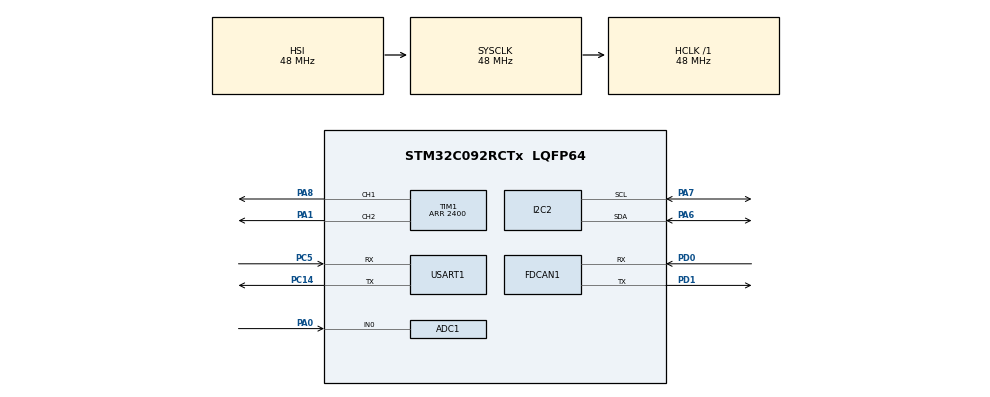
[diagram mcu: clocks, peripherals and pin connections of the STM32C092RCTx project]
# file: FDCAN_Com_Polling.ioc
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ADC1.NbrOfConversionFlag=0
ADC1.SelectedChannel=ADC_CHANNEL_0
ADC1.master=1
FDCAN1.AutoRetransmission=ENABLE
FDCAN1.CalculateBaudRateData=1000000
FDCAN1.CalculateBaudRateNominal=1000000
FDCAN1.CalculateTimeBitNominal=1000
FDCAN1.CalculateTimeQuantumNominal=20.833333333333332
FDCAN1.DataSyncJumpWidth=6
FDCAN1.DataTimeSeg1=17
FDCAN1.DataTimeSeg2=6
FDCAN1.FrameFormat=FDCAN_FRAME_FD_BRS
FDCAN1.NominalPrescaler=1
FDCAN1.NominalSyncJumpWidth=12
FDCAN1.NominalTimeSeg1=35
FDCAN1.NominalTimeSeg2=12
FDCAN1.StdFiltersNbr=1
FDCAN1.TransmitPause=ENABLE
I2C2.Timing=0x10805D88
Mcu.Family=STM32C0
Mcu.Name=STM32C092RCTx
Mcu.Package=LQFP64
NUCLEO-C092RC.LD1=true
NUCLEO-C092RC.LD2=true
NUCLEO-C092RC.VCP=true
NVIC.TIM2_IRQn=true\:0\:0\:false\:false\:true\:true\:true\:true
NVIC.USART1_IRQn=true\:0\:0\:false\:false\:true\:true\:true\:true
PA0.Mode=IN0
PA0.Signal=ADC1_IN0
PA1.Signal=S_TIM1_CH2
PA6.Mode=I2C
PA6.Signal=I2C2_SDA
PA7.Mode=I2C
PA7.Signal=I2C2_SCL
PA8.Signal=S_TIM1_CH1
PC14-OSCX_IN(PC14).Mode=Asynchronous
PC14-OSCX_IN(PC14).Signal=USART1_TX
PC5.Mode=Asynchronous
PC5.Signal=USART1_RX
PD0.Mode=FDCAN_Activate
PD0.Signal=FDCAN1_RX
PD1.Mode=FDCAN_Activate
PD1.Signal=FDCAN1_TX
ProjectManager.HeapSize=0x200
ProjectManager.StackSize=0x400
ProjectManager.TargetToolchain=STM32CubeIDE
RCC.ADCFreq_Value=48000000
RCC.AHBFreq_Value=48000000
RCC.CortexFreq_Value=48000000
RCC.EXTERNAL_CLOCK_VALUE=12288000
RCC.HCLKFreq_Value=48000000
RCC.HSE_VALUE=8000000
RCC.HSISYSCLKDivider=RCC_HSI_DIV1
RCC.HSI_VALUE=48000000
RCC.LSE_VALUE=32768
RCC.SYSCLKFreq_VALUE=48000000
SH.S_TIM1_CH1.0=TIM1_CH1,PWM Generation1 CH1
SH.S_TIM1_CH2.0=TIM1_CH2,PWM Generation2 CH2
TIM1.Channel-PWM\ Generation1\ CH1=TIM_CHANNEL_1
TIM1.Channel-PWM\ Generation2\ CH2=TIM_CHANNEL_2
TIM1.Period=2400
TIM2.Period=48000
USART1.VirtualMode-Asynchronous=VM_ASYNC
VP_NUCLEO-C092RC_VS_BSP_COMMON.Mode=COMMON
VP_TIM2_VS_ClockSourceINT.Mode=Internal
board=NUCLEO-C092RC

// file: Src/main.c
/* USER CODE BEGIN Header */
/**
  ******************************************************************************
  * @file    FDCAN/FDCAN_Com_Polling/Src/main.c
  * @author  MCD Application Team
  * @brief   This sample code shows how to achieve Polling Process Communication
  *          between two FDCAN units.
  ******************************************************************************
  * @attention
  *
  * Copyright (c) 2024 STMicroelectronics.
  * All rights reserved.
  *
  * This software is licensed under terms that can be found in the LICENSE file
  * in the root directory of this software component.
  * If no LICENSE file comes with this software, it is provided AS-IS.
  *
  ******************************************************************************
  */
/* USER CODE END Header */
#include "main.h"

/* USER CODE BEGIN PD */
#define TX_ID          (0x111)   /* TX CAN message identifier    */
#define RX_ID          (0x111)   /* RX CAN message identifier    */
#define INA219_REG_CALIBRATION 0x05
#define INA219_REG_CONFIG 0x00
#define INA219_REG_CURRENT 0x04
#define INA219_ADDR 0b1000000
#define CURRENT_EINTMAX 1000
/* USER CODE END PD */

/* USER CODE BEGIN PM */
#define COUNTOF(BUFFER) (sizeof((BUFFER)) / sizeof(*(BUFFER)))
/* USER CODE END PM */

COM_InitTypeDef BspCOMInit;
ADC_HandleTypeDef hadc1;

FDCAN_HandleTypeDef hfdcan1;

I2C_HandleTypeDef hi2c2;

TIM_HandleTypeDef htim1;
TIM_HandleTypeDef htim2;

UART_HandleTypeDef huart1;

/* USER CODE BEGIN PV */
FDCAN_RxHeaderTypeDef rxHeader;
FDCAN_TxHeaderTypeDef txHeader;
uint8_t rxData[16U];
static const uint8_t txData[] = {0x10, 0x32, 0x54, 0x76, 0x98, 0x00, 0x11, 0x22,
                                 0x33, 0x44, 0x55, 0x66, 0x77, 0x88, 0x99, 0x00
                                };

volatile int state = 0;
volatile float itest_desired_current[400];
volatile float itest_actual_current[400];
volatile float Kp_current = 0.03;
volatile float Ki_current = 0.03;
volatile uint8_t uart_rx;
/* USER CODE END PV */

void SystemClock_Config(void);
static void MX_GPIO_Init(void);
static void MX_FDCAN1_Init(void);
static void MX_ADC1_Init(void);
static void MX_I2C2_Init(void);
static void MX_TIM1_Init(void);
static void MX_TIM2_Init(void);
static void MX_USART1_UART_Init(void);
/* USER CODE BEGIN PFP */
static uint32_t BufferCmp8b(const uint8_t *pBuffer1, const uint8_t *pBuffer2, uint16_t BufferLength);
uint32_t adc_read();
void ina219_init();
float ina219_read();
void ina219_write(int reg, int value);
void set_pwm(float duty_cycle);
/* USER CODE END PFP */

int main(void)
{

  /* USER CODE BEGIN 1 */

  /* STM32C0xx HAL library initialization:
       - Configure the Flash prefetch
       - Systick timer is configured by default as source of time base, but user
         can eventually implement his proper time base source (a general purpose
         timer for example or other time source), keeping in mind that Time base
         duration should be kept 1ms since PPP_TIMEOUT_VALUEs are defined and
         handled in milliseconds basis.
       - Low Level Initialization
     */
  /* USER CODE END 1 */

  /* MCU Configuration--------------------------------------------------------*/

  /* Reset of all peripherals, Initializes the Flash interface and the Systick. */
  HAL_Init();

  /* Configure the system clock */
  SystemClock_Config();

  /* USER CODE BEGIN SysInit */
  /* Configure LED1 and LED2 */
  BSP_LED_Init(LED1);
  BSP_LED_Init(LED2);

  /* Configure User push-button in interrupt mode */
  BSP_PB_Init(BUTTON_USER, BUTTON_MODE_EXTI);

  /* USER CODE END SysInit */

  /* Initialize all configured peripherals */
  MX_GPIO_Init();
  MX_FDCAN1_Init();
  MX_ADC1_Init();
  MX_I2C2_Init();
  MX_TIM1_Init();
  MX_TIM2_Init();
  MX_USART1_UART_Init();
  /* USER CODE BEGIN 2 */

  /* Configure reception filter to Rx FIFO 0 */
  FDCAN_FilterTypeDef        sFilterConfig;
  sFilterConfig.IdType       = FDCAN_STANDARD_ID;
  sFilterConfig.FilterIndex  = 0U;
  sFilterConfig.FilterType   = FDCAN_FILTER_MASK;
  sFilterConfig.FilterConfig = FDCAN_FILTER_TO_RXFIFO0;
  sFilterConfig.FilterID1    = TX_ID;
  sFilterConfig.FilterID2    = 0x7FF;
  if (HAL_FDCAN_ConfigFilter(&hfdcan1, &sFilterConfig) != HAL_OK)
  {
    Error_Handler();
  }

  /**
    *  Configure global filter:
    *    - Filter all remote frames with STD and EXT ID
    *    - Reject non matching frames with STD ID and EXT ID
    */
  if (HAL_FDCAN_ConfigGlobalFilter(&hfdcan1,
                                   FDCAN_REJECT, FDCAN_REJECT,
                                   FDCAN_FILTER_REMOTE, FDCAN_FILTER_REMOTE) != HAL_OK)
  {
    Error_Handler();
  }

  /* Prepare Tx message Header */
  txHeader.Identifier          = TX_ID;
  txHeader.IdType              = FDCAN_STANDARD_ID;
  txHeader.TxFrameType         = FDCAN_DATA_FRAME;
  txHeader.DataLength          = FDCAN_DLC_BYTES_16;
  txHeader.ErrorStateIndicator = FDCAN_ESI_ACTIVE;
  txHeader.BitRateSwitch       = FDCAN_BRS_ON;
  txHeader.FDFormat            = FDCAN_FD_CAN;
  txHeader.TxEventFifoControl  = FDCAN_NO_TX_EVENTS;
  txHeader.MessageMarker       = 0U;

  /**
    * Configure and enable Tx Delay Compensation, required for BRS mode.
    * TdcOffset default recommended value: DataTimeSeg1 * DataPrescaler
    * TdcFilter default recommended value: 0
    */
  if (HAL_FDCAN_ConfigTxDelayCompensation(&hfdcan1,
                                          (hfdcan1.Init.DataPrescaler * hfdcan1.Init.DataTimeSeg1), 0U) != HAL_OK)
  {
    Error_Handler();
  }

  if (HAL_FDCAN_EnableTxDelayCompensation(&hfdcan1) != HAL_OK)
  {
    Error_Handler();
  }

  /* Start FDCAN controller */
  if (HAL_FDCAN_Start(&hfdcan1) != HAL_OK)
  {
    Error_Handler();
  }

  HAL_TIM_Base_Start_IT(&htim2);
  __HAL_TIM_SET_COMPARE(&htim1, TIM_CHANNEL_1, 2400);
  __HAL_TIM_SET_COMPARE(&htim1, TIM_CHANNEL_2, 2400);
  HAL_TIM_PWM_Start(&htim1, TIM_CHANNEL_1);
  HAL_TIM_PWM_Start(&htim1, TIM_CHANNEL_2);
  /* USER CODE END 2 */

  /* Initialize leds */
  BSP_LED_Init(LED_GREEN);
  BSP_LED_Init(LED_BLUE);

  /* Initialize COM1 port (115200, 8 bits (7-bit data + 1 stop bit), no parity */
  BspCOMInit.BaudRate   = 115200;
  BspCOMInit.WordLength = COM_WORDLENGTH_8B;
  BspCOMInit.StopBits   = COM_STOPBITS_1;
  BspCOMInit.Parity     = COM_PARITY_NONE;
  BspCOMInit.HwFlowCtl  = COM_HWCONTROL_NONE;
  if (BSP_COM_Init(COM1, &BspCOMInit) != BSP_ERROR_NONE)
  {
    Error_Handler();
  }

  /* Infinite loop */
  /* USER CODE BEGIN WHILE */
  ina219_init();
  // for UART:
  HAL_UART_Receive_IT(&huart1, &uart_rx, 1);
  while (1)
  {

	  // receive byte from virtual COM port
//	  unsigned char rx_byte;
//	  if (HAL_UART_Receive(&hcom_uart[COM1], &rx_byte, 1, 0) == HAL_OK){
//
//	  } else {
//		  rx_byte = 0;
//	  }
//
//	  // if a, then change state
//	  if(rx_byte == 'a'){
//		  state = 1;
//		  while(state == 1){
//			  // do nothing
//		  }
//
//		  int i = 0;
//		  for (i=0;i<400;i++){
//			  printf("%d %d %d\r\n", i, (int)(itest_desired_current[i]*1000), (int)(itest_actual_current[i]*1000));
//		  }
//	  }
    /* USER CODE END WHILE */

  }
}

void SystemClock_Config(void)
{
  RCC_OscInitTypeDef RCC_OscInitStruct = {0};
  RCC_ClkInitTypeDef RCC_ClkInitStruct = {0};

  __HAL_FLASH_SET_LATENCY(FLASH_LATENCY_1);

  /** Initializes the RCC Oscillators according to the specified parameters
  * in the RCC_OscInitTypeDef structure.
  */
  RCC_OscInitStruct.OscillatorType = RCC_OSCILLATORTYPE_HSI;
  RCC_OscInitStruct.HSIState = RCC_HSI_ON;
  RCC_OscInitStruct.HSIDiv = RCC_HSI_DIV1;
  RCC_OscInitStruct.HSICalibrationValue = RCC_HSICALIBRATION_DEFAULT;
  if (HAL_RCC_OscConfig(&RCC_OscInitStruct) != HAL_OK)
  {
    Error_Handler();
  }

  /** Initializes the CPU, AHB and APB buses clocks
  */
  RCC_ClkInitStruct.ClockType = RCC_CLOCKTYPE_HCLK|RCC_CLOCKTYPE_SYSCLK
                              |RCC_CLOCKTYPE_PCLK1;
  RCC_ClkInitStruct.SYSCLKSource = RCC_SYSCLKSOURCE_HSI;
  RCC_ClkInitStruct.SYSCLKDivider = RCC_SYSCLK_DIV1;
  RCC_ClkInitStruct.AHBCLKDivider = RCC_HCLK_DIV1;
  RCC_ClkInitStruct.APB1CLKDivider = RCC_APB1_DIV1;

  if (HAL_RCC_ClockConfig(&RCC_ClkInitStruct, FLASH_LATENCY_1) != HAL_OK)
  {
    Error_Handler();
  }
}

static void MX_ADC1_Init(void)
{

  ADC_ChannelConfTypeDef sConfig = {0};

  /** Configure the global features of the ADC (Clock, Resolution, Data Alignment and number of conversion)
  */
  hadc1.Instance = ADC1;
  hadc1.Init.ClockPrescaler = ADC_CLOCK_SYNC_PCLK_DIV2;
  hadc1.Init.Resolution = ADC_RESOLUTION_12B;
  hadc1.Init.DataAlign = ADC_DATAALIGN_RIGHT;
  hadc1.Init.ScanConvMode = ADC_SCAN_SEQ_FIXED;
  hadc1.Init.EOCSelection = ADC_EOC_SINGLE_CONV;
  hadc1.Init.LowPowerAutoWait = DISABLE;
  hadc1.Init.LowPowerAutoPowerOff = DISABLE;
  hadc1.Init.ContinuousConvMode = DISABLE;
  hadc1.Init.NbrOfConversion = 1;
  hadc1.Init.DiscontinuousConvMode = DISABLE;
  hadc1.Init.ExternalTrigConv = ADC_SOFTWARE_START;
  hadc1.Init.ExternalTrigConvEdge = ADC_EXTERNALTRIGCONVEDGE_NONE;
  hadc1.Init.DMAContinuousRequests = DISABLE;
  hadc1.Init.Overrun = ADC_OVR_DATA_PRESERVED;
  hadc1.Init.SamplingTimeCommon1 = ADC_SAMPLETIME_1CYCLE_5;
  hadc1.Init.OversamplingMode = DISABLE;
  hadc1.Init.TriggerFrequencyMode = ADC_TRIGGER_FREQ_HIGH;
  if (HAL_ADC_Init(&hadc1) != HAL_OK)
  {
    Error_Handler();
  }

  /** Configure Regular Channel
  */
  sConfig.Channel = ADC_CHANNEL_0;
  sConfig.Rank = ADC_RANK_CHANNEL_NUMBER;
  if (HAL_ADC_ConfigChannel(&hadc1, &sConfig) != HAL_OK)
  {
    Error_Handler();
  }

}

static void MX_FDCAN1_Init(void)
{

  hfdcan1.Instance = FDCAN1;
  hfdcan1.Init.ClockDivider = FDCAN_CLOCK_DIV1;
  hfdcan1.Init.FrameFormat = FDCAN_FRAME_FD_BRS;
  hfdcan1.Init.Mode = FDCAN_MODE_NORMAL;
  hfdcan1.Init.AutoRetransmission = ENABLE;
  hfdcan1.Init.TransmitPause = ENABLE;
  hfdcan1.Init.ProtocolException = DISABLE;
  hfdcan1.Init.NominalPrescaler = 1;
  hfdcan1.Init.NominalSyncJumpWidth = 12;
  hfdcan1.Init.NominalTimeSeg1 = 35;
  hfdcan1.Init.NominalTimeSeg2 = 12;
  hfdcan1.Init.DataPrescaler = 1;
  hfdcan1.Init.DataSyncJumpWidth = 6;
  hfdcan1.Init.DataTimeSeg1 = 17;
  hfdcan1.Init.DataTimeSeg2 = 6;
  hfdcan1.Init.StdFiltersNbr = 1;
  hfdcan1.Init.ExtFiltersNbr = 0;
  hfdcan1.Init.TxFifoQueueMode = FDCAN_TX_FIFO_OPERATION;
  if (HAL_FDCAN_Init(&hfdcan1) != HAL_OK)
  {
    Error_Handler();
  }

}

static void MX_I2C2_Init(void)
{

  hi2c2.Instance = I2C2;
  hi2c2.Init.Timing = 0x10805D88;
  hi2c2.Init.OwnAddress1 = 0;
  hi2c2.Init.AddressingMode = I2C_ADDRESSINGMODE_7BIT;
  hi2c2.Init.DualAddressMode = I2C_DUALADDRESS_DISABLE;
  hi2c2.Init.OwnAddress2 = 0;
  hi2c2.Init.OwnAddress2Masks = I2C_OA2_NOMASK;
  hi2c2.Init.GeneralCallMode = I2C_GENERALCALL_DISABLE;
  hi2c2.Init.NoStretchMode = I2C_NOSTRETCH_DISABLE;
  if (HAL_I2C_Init(&hi2c2) != HAL_OK)
  {
    Error_Handler();
  }

  /** Configure Analogue filter
  */
  if (HAL_I2CEx_ConfigAnalogFilter(&hi2c2, I2C_ANALOGFILTER_ENABLE) != HAL_OK)
  {
    Error_Handler();
  }

  /** Configure Digital filter
  */
  if (HAL_I2CEx_ConfigDigitalFilter(&hi2c2, 0) != HAL_OK)
  {
    Error_Handler();
  }

}

static void MX_TIM1_Init(void)
{

  TIM_MasterConfigTypeDef sMasterConfig = {0};
  TIM_OC_InitTypeDef sConfigOC = {0};
  TIM_BreakDeadTimeConfigTypeDef sBreakDeadTimeConfig = {0};

  htim1.Instance = TIM1;
  htim1.Init.Prescaler = 0;
  htim1.Init.CounterMode = TIM_COUNTERMODE_UP;
  htim1.Init.Period = 2400;
  htim1.Init.ClockDivision = TIM_CLOCKDIVISION_DIV1;
  htim1.Init.RepetitionCounter = 0;
  htim1.Init.AutoReloadPreload = TIM_AUTORELOAD_PRELOAD_DISABLE;
  if (HAL_TIM_PWM_Init(&htim1) != HAL_OK)
  {
    Error_Handler();
  }
  sMasterConfig.MasterOutputTrigger = TIM_TRGO_RESET;
  sMasterConfig.MasterOutputTrigger2 = TIM_TRGO2_RESET;
  sMasterConfig.MasterSlaveMode = TIM_MASTERSLAVEMODE_DISABLE;
  if (HAL_TIMEx_MasterConfigSynchronization(&htim1, &sMasterConfig) != HAL_OK)
  {
    Error_Handler();
  }
  sConfigOC.OCMode = TIM_OCMODE_PWM1;
  sConfigOC.Pulse = 0;
  sConfigOC.OCPolarity = TIM_OCPOLARITY_HIGH;
  sConfigOC.OCNPolarity = TIM_OCNPOLARITY_HIGH;
  sConfigOC.OCFastMode = TIM_OCFAST_DISABLE;
  sConfigOC.OCIdleState = TIM_OCIDLESTATE_RESET;
  sConfigOC.OCNIdleState = TIM_OCNIDLESTATE_RESET;
  if (HAL_TIM_PWM_ConfigChannel(&htim1, &sConfigOC, TIM_CHANNEL_1) != HAL_OK)
  {
    Error_Handler();
  }
  if (HAL_TIM_PWM_ConfigChannel(&htim1, &sConfigOC, TIM_CHANNEL_2) != HAL_OK)
  {
    Error_Handler();
  }
  sBreakDeadTimeConfig.OffStateRunMode = TIM_OSSR_DISABLE;
  sBreakDeadTimeConfig.OffStateIDLEMode = TIM_OSSI_DISABLE;
  sBreakDeadTimeConfig.LockLevel = TIM_LOCKLEVEL_OFF;
  sBreakDeadTimeConfig.DeadTime = 0;
  sBreakDeadTimeConfig.BreakState = TIM_BREAK_DISABLE;
  sBreakDeadTimeConfig.BreakPolarity = TIM_BREAKPOLARITY_HIGH;
  sBreakDeadTimeConfig.BreakFilter = 0;
  sBreakDeadTimeConfig.BreakAFMode = TIM_BREAK_AFMODE_INPUT;
  sBreakDeadTimeConfig.Break2State = TIM_BREAK2_DISABLE;
  sBreakDeadTimeConfig.Break2Polarity = TIM_BREAK2POLARITY_HIGH;
  sBreakDeadTimeConfig.Break2Filter = 0;
  sBreakDeadTimeConfig.Break2AFMode = TIM_BREAK_AFMODE_INPUT;
  sBreakDeadTimeConfig.AutomaticOutput = TIM_AUTOMATICOUTPUT_DISABLE;
  if (HAL_TIMEx_ConfigBreakDeadTime(&htim1, &sBreakDeadTimeConfig) != HAL_OK)
  {
    Error_Handler();
  }
  HAL_TIM_MspPostInit(&htim1);

}

static void MX_TIM2_Init(void)
{

  TIM_ClockConfigTypeDef sClockSourceConfig = {0};
  TIM_MasterConfigTypeDef sMasterConfig = {0};

  htim2.Instance = TIM2;
  htim2.Init.Prescaler = 0;
  htim2.Init.CounterMode = TIM_COUNTERMODE_UP;
  htim2.Init.Period = 48000;
  htim2.Init.ClockDivision = TIM_CLOCKDIVISION_DIV1;
  htim2.Init.AutoReloadPreload = TIM_AUTORELOAD_PRELOAD_DISABLE;
  if (HAL_TIM_Base_Init(&htim2) != HAL_OK)
  {
    Error_Handler();
  }
  sClockSourceConfig.ClockSource = TIM_CLOCKSOURCE_INTERNAL;
  if (HAL_TIM_ConfigClockSource(&htim2, &sClockSourceConfig) != HAL_OK)
  {
    Error_Handler();
  }
  sMasterConfig.MasterOutputTrigger = TIM_TRGO_RESET;
  sMasterConfig.MasterSlaveMode = TIM_MASTERSLAVEMODE_DISABLE;
  if (HAL_TIMEx_MasterConfigSynchronization(&htim2, &sMasterConfig) != HAL_OK)
  {
    Error_Handler();
  }

}

static void MX_USART1_UART_Init(void)
{

  huart1.Instance = USART1;
  huart1.Init.BaudRate = 115200;
  huart1.Init.WordLength = UART_WORDLENGTH_8B;
  huart1.Init.StopBits = UART_STOPBITS_1;
  huart1.Init.Parity = UART_PARITY_NONE;
  huart1.Init.Mode = UART_MODE_TX_RX;
  huart1.Init.HwFlowCtl = UART_HWCONTROL_NONE;
  huart1.Init.OverSampling = UART_OVERSAMPLING_16;
  huart1.Init.OneBitSampling = UART_ONE_BIT_SAMPLE_DISABLE;
  huart1.Init.ClockPrescaler = UART_PRESCALER_DIV1;
  huart1.AdvancedInit.AdvFeatureInit = UART_ADVFEATURE_NO_INIT;
  if (HAL_UART_Init(&huart1) != HAL_OK)
  {
    Error_Handler();
  }
  if (HAL_UARTEx_SetTxFifoThreshold(&huart1, UART_TXFIFO_THRESHOLD_1_8) != HAL_OK)
  {
    Error_Handler();
  }
  if (HAL_UARTEx_SetRxFifoThreshold(&huart1, UART_RXFIFO_THRESHOLD_1_8) != HAL_OK)
  {
    Error_Handler();
  }
  if (HAL_UARTEx_DisableFifoMode(&huart1) != HAL_OK)
  {
    Error_Handler();
  }

}

static void MX_GPIO_Init(void)
{

  /* GPIO Ports Clock Enable */
  __HAL_RCC_GPIOC_CLK_ENABLE();
  __HAL_RCC_GPIOA_CLK_ENABLE();
  __HAL_RCC_GPIOD_CLK_ENABLE();

}

/* USER CODE BEGIN 4 */

/**
  * @brief  BSP User push-button callback
  * @param  Button Specifies the pin connected EXTI line
  * @retval None.
  */
void BSP_PB_Callback(Button_TypeDef Button)
{
  if (Button == BUTTON_USER)
  {
    /* Turn LED1 off */
    BSP_LED_Off(LED1);

    /* Add message to TX FIFO */
    if (HAL_FDCAN_AddMessageToTxFifoQ(&hfdcan1, &txHeader, txData) != HAL_OK)
    {
      Error_Handler();
    }

    /* Delay for simple button debounce */
    HAL_Delay(100U);
  }
}

/**
  * @brief  Compares two buffers.
  * @param  pBuffer1 buffer to be compared.
  * @param  pBuffer2 buffer to be compared.
  * @param  BufferLength: buffer's length.
  * @retval 0: pBuffer1 is identical to pBuffer2
  * @retval 1: pBuffer1 differs from pBuffer2
  */
static uint32_t BufferCmp8b(const uint8_t *pBuffer1, const uint8_t *pBuffer2, uint16_t BufferLength)
{
  while (BufferLength--)
  {
    if (*pBuffer1 != *pBuffer2)
    {
      return 1U;
    }

    pBuffer1++;
    pBuffer2++;
  }
  return 0U;
}

uint32_t adc_read(){
	uint32_t adc_value;
	HAL_ADC_Start(&hadc1);                                 // start conversion
	if (HAL_ADC_PollForConversion(&hadc1, 10) == HAL_OK)  // wait (10 ms timeout)
	{
	    adc_value = HAL_ADC_GetValue(&hadc1);                   // read raw ADC value
	}
	else {
	    adc_value = 0;
	}
	HAL_ADC_Stop(&hadc1);
	return adc_value;
}

void ina219_init(){
    // set the INA219 sensitivity - 10 bit, plus/minus160mV, 148us per sample
    unsigned short ina219_calValue = 1024;
    unsigned short ina219_config = 0b0011000010001111;
    ina219_write(INA219_REG_CALIBRATION, ina219_calValue);
    ina219_write(INA219_REG_CONFIG, ina219_config);
}

void ina219_write(int reg, int value){ // value must be 16 bit
	uint8_t buf[3];
	buf[0] = reg;
	buf[1] = value>>8;
	buf[2] = value&0xff;

	HAL_I2C_Master_Transmit(&hi2c2, INA219_ADDR<<1, buf, 3, 10);
}

float ina219_read(){ // returns in mA
	unsigned char reg = INA219_REG_CURRENT;
    HAL_I2C_Master_Transmit(&hi2c2, INA219_ADDR<<1, &reg, 1, 10);
    uint8_t buffer[2];
    HAL_I2C_Master_Receive(&hi2c2, INA219_ADDR<<1, buffer, 2, 10);
    signed short value = (buffer[0]<<8)|buffer[1];
    float current;
    current = value / 3.0;
    return current;
}

void set_pwm(float duty_cycle){
	// duty cycle between -100 and 100
	if (duty_cycle >= 0){
		__HAL_TIM_SET_COMPARE(&htim1, TIM_CHANNEL_1, 2400);
		float inv_duty_cycle = 100-duty_cycle;
		__HAL_TIM_SET_COMPARE(&htim1, TIM_CHANNEL_2, 2400*inv_duty_cycle/100);
	} else {
		__HAL_TIM_SET_COMPARE(&htim1, TIM_CHANNEL_2, 2400);
		float inv_duty_cycle = 100+duty_cycle;
		__HAL_TIM_SET_COMPARE(&htim1, TIM_CHANNEL_1, 2400*inv_duty_cycle/100);
	}
}

// timer based interrupt
void HAL_TIM_PeriodElapsedCallback(TIM_HandleTypeDef *htim)
{
    if (htim == &htim2) {
    	// emergency stop
		uint32_t adc_value = adc_read();
		if ((adc_value < 250) || (adc_value > 3845)){
			__HAL_TIM_SET_COMPARE(&htim1, TIM_CHANNEL_1, 2400);
			__HAL_TIM_SET_COMPARE(&htim1, TIM_CHANNEL_2, 2400);
			//printf("emergency stop!\r\n");
		}

		// current control
		if (state == 1){
			static int counter = 0;
			float desired_current;
			// alternate desired current every 100ms
			if ((counter < 100) || (counter >= 200 && counter < 300)){
				desired_current = -100;
			} else {
				desired_current = 100;
			}
			// read current
			float current = ina219_read();
			// save desired and actual current for plotting later
			itest_desired_current[counter] = desired_current;
			itest_actual_current[counter] = current;
			// compute error and integral
			float error = desired_current - current;
			static float eint = 0;
			eint += error;
			// integral anti-windup
			if (eint > CURRENT_EINTMAX) {
				eint = CURRENT_EINTMAX;
			} else if (eint < -CURRENT_EINTMAX) {
				eint = -CURRENT_EINTMAX;
			}
			// calculate u
			float u = Kp_current * error + Ki_current * eint;
			if (u > 100) {
				u = 100;
			} else if (u < -100) {
				u = -100;
			}
			// set pwm
			set_pwm(u);

			counter++;
			if (counter == 400){
				counter = 0;
				state = 0;
				set_pwm(0);
			}
		}
    }
}

void HAL_UART_RxCpltCallback(UART_HandleTypeDef *huart){
	static uint8_t buf[2];
	static uint8_t idx = 0;
	if (huart->Instance == USART1){
		buf[idx++] = uart_rx;
		if (idx == 2){
			int16_t angle = (int16_t)((uint16_t)buf[0] | ((uint16_t)buf[1] << 8));
			int degrees = (int)(angle*360.0/4096.0);
			printf("%d\r\n", degrees);
			idx = 0;
		}
		HAL_UART_Receive_IT(&huart1, &uart_rx, 1);
	}
}
/* USER CODE END 4 */

void Error_Handler(void)
{
  /* USER CODE BEGIN Error_Handler_Debug */
  /* User can add his own implementation to report the HAL error return state */

  while (1)
  {
    /* Toggle LED2 on */
    BSP_LED_Toggle(LED2);

    /* 1s delay */
    HAL_Delay(1000U);
  }
  /* USER CODE END Error_Handler_Debug */
}
